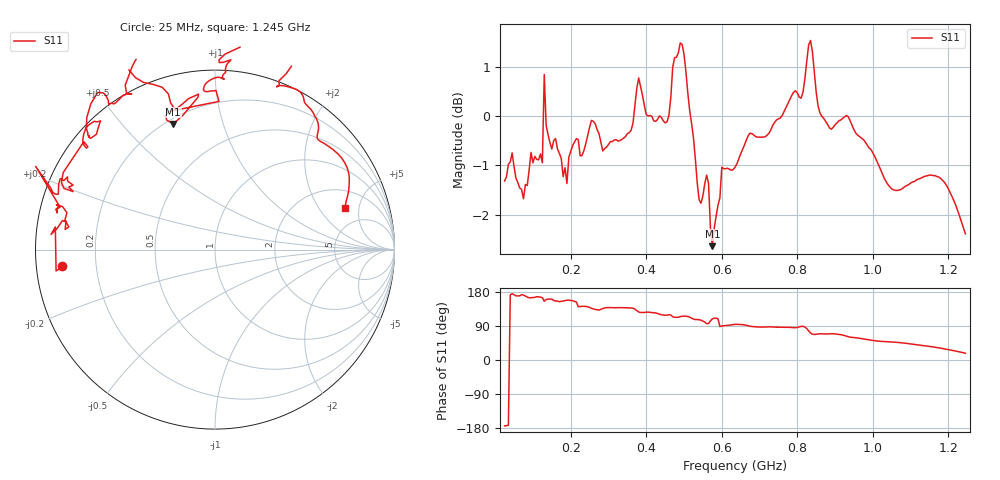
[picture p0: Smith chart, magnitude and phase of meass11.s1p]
!Created with skrf (http://scikit-rf.org).
# Hz S RI R 50.0
!freq ReS11 ImS11
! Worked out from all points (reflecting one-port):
!   245 points, 25 MHz to 1.245 GHz, reference 50 ohm
!   lowest |S11| = -2.6 dB at 575 MHz (marker M1), VSWR 6.63, Z = 11.3 + j34.9 ohm
!   phase of S11 starts at -174 deg and turns -168 deg over the sweep
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2.5e7  -0.8543 -0.0896
3.5e7  -0.8854 -0.1188
4e7  -0.8896 0.126
1.25e8  -0.8641 0.2383
1.3e8  -0.9992 0.4636
1.4e8  -0.9028 0.3179
1.8e8  -0.7903 0.3588
2.15e8  -0.8455 0.4297
2.65e8  -0.6731 0.7147
3.3e8  -0.7033 0.6297
3.65e8  -0.7161 0.6749
3.8e8  -0.6536 0.8756
4.6e8  -0.4927 0.8715
4.85e8  -0.4511 1.067
5e8  -0.5033 1.039
5.4e8  -0.2291 0.7897
5.6e8  -0.0915 0.8661
5.75e8  -0.2324 0.7003
5.9e8  -0.262 0.7684
5.95e8  0.0223 0.8257
6.35e8  -0.061 0.8851
7.9e8  0.086 1.053
8.2e8  0.0555 1.089
8.4e8  0.4336 1.077
8.95e8  0.3455 0.9105
9.4e8  0.4881 0.8596
1.095e9  0.6229 0.5815
1.245e9  0.7237 0.2301
